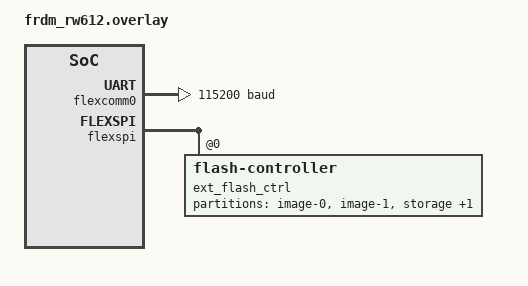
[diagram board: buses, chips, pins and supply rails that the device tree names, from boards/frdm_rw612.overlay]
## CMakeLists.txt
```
# SPDX-License-Identifier: Apache-2.0

cmake_minimum_required(VERSION 3.20.0)

find_package(Zephyr REQUIRED HINTS $ENV{ZEPHYR_BASE})
project(on_off_output_zc)

target_sources(app PRIVATE
	       src/on_off_output_zc.c
	       )
```

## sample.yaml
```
sample:
  name: on_off_output_zc
  description: >
    sample application demonstrating Zigbee functionality for NXP ZBOSS stack
  common:
    min_ram: 32
    min_flash: 256
    tags: zboss
    depends_on: zboss

tests:
  sample.zboss.basic:
    tags: zboss
    harness: console
    harness_config:
      type: one_line
      regex:
        - "Zboss (.*)"
    platform_allow:
      - frdm_mcxw71
      - frdm_mcxw72
      - frdm_rw612
```

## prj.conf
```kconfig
# Zigbee Zboss Application

# OS
CONFIG_EVENTS=y
CONFIG_HEAP_MEM_POOL_SIZE=16384
CONFIG_MAIN_STACK_SIZE=6144
# Must be higher that MAC_INTF_CB_TASK_PRIORITY, refer to:
# modules/hal/nxp/mcux/middleware/mcux-sdk-middleware-ieee_802.15.4/ieee_802_15_4/mac/source/App/mac_intf_rpmsg.c
CONFIG_MAIN_THREAD_PRIORITY=5

# Enable NVMEM subsystem
CONFIG_NVMEM=y
CONFIG_NVMEM_FLASH=y
#CONFIG_LOG=y
#CONFIG_NVMEM_LOG_LEVEL_DBG=y

# Flash
CONFIG_FLASH=y
CONFIG_FLASH_MAP=y
CONFIG_FLASH_PAGE_LAYOUT=y


CONFIG_NVS=y
#CONFIG_LOG=y
#CONFIG_NVS_LOG_LEVEL_DBG=y

CONFIG_TEST_RANDOM_GENERATOR=y

CONFIG_REBOOT=y
CONFIG_ASSERT=y

CONFIG_NXP_RF_IMU=y
CONFIG_NXP_IEEE802154_MAC=y

CONFIG_DEBUG=y

CONFIG_FPU=y
CONFIG_FP_HARDABI=y

CONFIG_ZBOSS_LOGS_ON_UART=n

CONFIG_ZIGBEE_CHANNEL=21

# End of common configs 
CONFIG_MCUX_LPTMR_TIMER=y
```

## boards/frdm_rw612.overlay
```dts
/*
 * Copyright 2026 NXP
 *
 * SPDX-License-Identifier: Apache-2.0
 */

/ {
	aliases {
		log-uart = &flexcomm0;
	};
};

/ {
	chosen {
		zephyr,code-partition = &slot0_partition;
	};
};

&flexcomm0 {
	compatible = "nxp,lpc-usart";
	status = "okay";
	current-speed = <115200>;
	pinctrl-0 = <&pinmux_flexcomm0_usart>;
	pinctrl-names = "default";
};

/* Delete all existing partitions */
/delete-node/ &boot_partition;
/delete-node/ &slot0_partition;
/delete-node/ &slot1_partition;
/delete-node/ &storage_partition;

&flexspi {

	/* Winbond external flash */
	ext_flash_ctrl: flash-controller@0 {

		w25q512jvfiq: flash@0 {

			/delete-node/ partitions;

			partitions {
				compatible = "fixed-partitions";
				#address-cells = <1>;
				#size-cells = <1>;

				slot0_partition: partition@0 {
					label = "image-0";
					reg = <0x00000000 DT_SIZE_M(3)>;
				};

				/*
				* slot1 is a bit larger than slot0 to account
				* for the overhead introduced by SB3.1 format.
				*/
				slot1_partition: partition@300000 {
					label = "image-1";
					reg = <0x00300000 DT_SIZE_K(3200)>;
				};
	
				storage_partition: partition@620000 {
					label = "storage";
					reg = <0x00620000 (DT_SIZE_M(58) - DT_SIZE_K(128) - DT_SIZE_K(32))>;
				};
	
				zb_nvram: partition@3ff8000 {
					label = "zb-nvram";
					reg = <0x03FF8000 DT_SIZE_K(32)>;
				};
			};
		};
	};
};
```

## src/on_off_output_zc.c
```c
/* ZBOSS Zigbee software protocol stack
 *
 * Copyright (c) 2012-2020 DSR Corporation, Denver CO, USA.
 * www.dsr-zboss.com
 * www.dsr-corporation.com
 * All rights reserved.
 *
 * Copyright 2023-2026 NXP
 *
 * This is unpublished proprietary source code of DSR Corporation
 * The copyright notice does not evidence any actual or intended
 * publication of such source code.
 *
 * ZBOSS is a registered trademark of Data Storage Research LLC d/b/a DSR
 * Corporation
 *
 * Commercial Usage
 * Licensees holding valid DSR Commercial licenses may use
 * this file in accordance with the DSR Commercial License
 * Agreement provided with the Software or, alternatively, in accordance
 * with the terms contained in a written agreement between you and
 * DSR.
 */
/* PURPOSE: ZB Simple output device
*/
/* ![mem_config_max] */
#define ZB_TRACE_FILE_ID 40144
#include "zboss_api.h"
#include "zb_led_button.h"
#include "zboss_api_error.h"

/* Insert that include before any code or declaration. */
#ifdef ZB_CONFIGURABLE_MEM
#include ZB_VENDOR_MEM_CONFIG
#endif
/* Next define clusters, attributes etc. */
/* ![mem_config_max] */

/*
#if ! defined ZB_COORDINATOR_ROLE
#error define ZB_COORDINATOR_ROLE to compile zc tests
#endif
*/
#if !defined ZB_ROUTER_ROLE
#error define ZB_ROUTER_ROLE to build led bulb demo
#endif

#define SUBGHZ_PAGE 1
#define SUBGHZ_CHANNEL 25
#define ZCL_ONOFF_ENABLE_OPTIONAL_ATTRIBUTES 1

// default ZIGBEE channel
#ifndef CONFIG_ZIGBEE_CHANNEL
#define CONFIG_ZIGBEE_CHANNEL 21
#endif

/**
 * Global variables definitions
 */
zb_ieee_addr_t g_zc_addr = {0xaa, 0xaa, 0xaa, 0xaa, 0xaa, 0xaa, 0xaa, 0xaa}; /* IEEE address of the
                                                                              * device */
zb_uint16_t g_dst_addr;
zb_uint8_t g_addr_mode;
zb_uint8_t g_endpoint;

/* Uncomment to enable installcode usage */
/* #define TEST_USE_INSTALLCODE */

#ifdef TEST_USE_INSTALLCODE
/* IEEE address of the end device */
zb_ieee_addr_t g_ed_addr = {0x22, 0x22, 0x22, 0x22, 0x22, 0x22, 0x22, 0x22};
char g_installcode[]= "966b9f3ef98ae605 9708";
#endif

#define ZB_REG_TEST_DEFAULT_NWK_KEY {0xab, 0xcd, 0xef, 0x01, 0x23, 0x45, 0x67, 0x89, \
                                     0x00, 0x00, 0x00, 0x00, 0x00, 0x00, 0x00, 0x00}

static zb_uint8_t g_nwk_key[16] = ZB_REG_TEST_DEFAULT_NWK_KEY;


/* Used endpoint */
#define ZB_OUTPUT_ENDPOINT          5
#define ZB_OUTPUT_MAX_CMD_PAYLOAD_SIZE 2

/* Handler for specific ZCL commands */
zb_uint8_t zcl_specific_cluster_cmd_handler(zb_uint8_t param);

void test_device_interface_cb(zb_uint8_t param);
void button_press_handler(zb_uint8_t param);

/**
 * Declaring attributes for each cluster
 */
/* On/Off cluster attributes */
zb_uint8_t g_attr_on_off = ZB_ZCL_ON_OFF_ON_OFF_DEFAULT_VALUE;
#if (ZCL_ONOFF_ENABLE_OPTIONAL_ATTRIBUTES == 1)
/* On/Off cluster attributes additions */
zb_bool_t g_attr_global_scene_ctrl  = ZB_TRUE;
zb_uint16_t g_attr_on_time  = 0;
zb_uint16_t g_attr_off_wait_time  = 0;

ZB_ZCL_DECLARE_ON_OFF_ATTRIB_LIST_EXT(on_off_attr_list, &g_attr_on_off,
    &g_attr_global_scene_ctrl, &g_attr_on_time, &g_attr_off_wait_time);
#else
ZB_ZCL_DECLARE_ON_OFF_ATTRIB_LIST(on_off_attr_list, &g_attr_on_off);
#endif

/* Basic cluster attributes */
zb_uint8_t g_attr_zcl_version  = ZB_ZCL_BASIC_ZCL_VERSION_DEFAULT_VALUE;
zb_uint8_t g_attr_power_source = ZB_ZCL_BASIC_POWER_SOURCE_DEFAULT_VALUE;

ZB_ZCL_DECLARE_BASIC_ATTRIB_LIST(basic_attr_list, &g_attr_zcl_version, &g_attr_power_source);

/* Identify cluster attributes */
zb_uint16_t g_attr_identify_time = ZB_ZCL_IDENTIFY_IDENTIFY_TIME_DEFAULT_VALUE;

ZB_ZCL_DECLARE_IDENTIFY_ATTRIB_LIST(identify_attr_list, &g_attr_identify_time);

/* Groups cluster attributes */
zb_uint8_t g_attr_name_support = 0;

ZB_ZCL_DECLARE_GROUPS_ATTRIB_LIST(groups_attr_list, &g_attr_name_support);

#ifdef ZB_ZCL_SUPPORT_CLUSTER_SCENES
/* Scenes cluster attributes */
zb_uint8_t g_attr_scenes_scene_count = ZB_ZCL_SCENES_SCENE_COUNT_DEFAULT_VALUE;
zb_uint8_t g_attr_scenes_current_scene = ZB_ZCL_SCENES_CURRENT_SCENE_DEFAULT_VALUE;
zb_uint16_t g_attr_scenes_current_group = ZB_ZCL_SCENES_CURRENT_GROUP_DEFAULT_VALUE;
zb_uint8_t g_attr_scenes_scene_valid = ZB_ZCL_SCENES_SCENE_VALID_DEFAULT_VALUE;
zb_uint16_t g_attr_scenes_name_support = ZB_ZCL_SCENES_NAME_SUPPORT_DEFAULT_VALUE;

ZB_ZCL_DECLARE_SCENES_ATTRIB_LIST(scenes_attr_list, &g_attr_scenes_scene_count,
    &g_attr_scenes_current_scene, &g_attr_scenes_current_group,
    &g_attr_scenes_scene_valid, &g_attr_scenes_name_support);
#else
zb_zcl_attr_t scenes_attr_list[] = { ZB_ZCL_NULL_ID, 0, 0, NULL };
#endif

/* Declare cluster list for the device */
ZB_HA_DECLARE_ON_OFF_OUTPUT_CLUSTER_LIST(on_off_output_clusters,
                                         on_off_attr_list,
                                         basic_attr_list,
                                         identify_attr_list,
                                         groups_attr_list,
                                         scenes_attr_list);

/* Declare endpoint */
ZB_HA_DECLARE_ON_OFF_OUTPUT_EP(on_off_output_ep, ZB_OUTPUT_ENDPOINT, on_off_output_clusters);

/* Declare application's device context for single-endpoint device */
ZB_HA_DECLARE_ON_OFF_OUTPUT_CTX(on_off_output_ctx, on_off_output_ep);


static zb_bool_t error_ind_handler(zb_uint8_t severity,
                                   zb_ret_t error_code,
                                   void *additional_info);

#ifdef ZB_MAC_CONFIGURABLE_TX_POWER /* Test API zb_set_tx_power */
static void tx_power_cb(zb_bufid_t param)
{
#ifdef ZB_NXP_WCS_TRACE
  zb_tx_power_params_t *power_params = zb_buf_begin(param);

  WCS_TRACE_INFO("%s_tx_power() response %s: channel %d, page %d, power 0x%02x (%d dBm)",
    (getenv("ZB_TX_POWER"))?("set"):("get"),
    wcs_get_error_str(power_params->status),
    power_params->channel,
    power_params->page,
    power_params->tx_power&0xFF,
    power_params->tx_power);
#endif

zb_buf_free(param);
}

static void request_tx_power(zb_bufid_t param)
{
  zb_tx_power_params_t *power_params;
  char *tmp = getenv("ZB_TX_POWER");

  TRACE_MSG(TRACE_APP1, "param %hd", (FMT__H, param));

  power_params = zb_buf_initial_alloc(param, sizeof(zb_tx_power_params_t));

  power_params->page     = zb_get_current_page();
  power_params->channel  = zb_get_current_channel();
  if(tmp)
    power_params->tx_power = (zb_uint8_t)atoi(tmp);
  power_params->cb = tx_power_cb;

  ZB_SCHEDULE_APP_CALLBACK((tmp)?(zb_set_tx_power_async):(zb_get_tx_power_async), param);
}
#endif

MAIN()
{
  ARGV_UNUSED;

  /* Trace enable */
  ZB_SET_TRACE_ON();
  /* Traffic dump enable*/
  ZB_SET_TRAF_DUMP_ON();

  /* Global ZBOSS initialization */
  ZB_INIT("on_off_output_zc");

  /* Set up defaults for the commissioning */
  zb_set_long_address(g_zc_addr);
#ifndef ZB_APP_ENABLE_SUBGHZ_MODE
  {
    zb_set_network_coordinator_role(1l<<CONFIG_ZIGBEE_CHANNEL);
  }
#else
  {
    zb_channel_list_t channel_list;
    zb_channel_list_init(channel_list);
    zb_channel_page_list_set_mask(channel_list, (ZB_CHANNEL_LIST_PAGE28_IDX), (1l << 24));
    zb_set_network_coordinator_role_ext(channel_list);
  }
#endif
  zb_set_nvram_erase_at_start(ZB_FALSE);
  zb_secur_setup_nwk_key(g_nwk_key, 0);

#ifdef ZB_ENABLE_PTA
  /* switch off by default */
  zb_enable_pta(0);
#endif
  zb_nwk_set_max_ed_capacity(3);

#ifdef ZB_PLATFORM_ZEPHYR
  /* Zigbee 3.0 compliant device */
  zboss_use_r22_behavior();
#endif

/* [af_register_device_context] */
 /* Register device ZCL context */
  ZB_AF_REGISTER_DEVICE_CTX(&on_off_output_ctx);
/* [af_register_device_context] */

  /* Register cluster commands handler for a specific endpoint */
  ZB_AF_SET_ENDPOINT_HANDLER(ZB_OUTPUT_ENDPOINT, zcl_specific_cluster_cmd_handler);

/* [zcl_register_device_cb] */
  /* Set Device user application callback */
  ZB_ZCL_REGISTER_DEVICE_CB(test_device_interface_cb);
/* [zcl_register_device_cb] */

#ifdef ZB_USE_BUTTONS
  zb_button_register_handler(0, 0, button_press_handler);
#endif

  zb_error_register_app_handler(error_ind_handler);

  /* Initiate the stack start without starting the commissioning */
  if (zboss_start_no_autostart() != RET_OK)
  {
    TRACE_MSG(TRACE_ERROR, "zboss_start failed", (FMT__0));
  }
  else
  {
    /* Call the main loop */
    zboss_main_loop();
  }

  /* Deinitialize trace */
  TRACE_DEINIT();

  MAIN_RETURN(0);
}


static zb_bool_t error_ind_handler(zb_uint8_t severity,
                                    zb_ret_t error_code,
                                    void *additional_info)
{
  zb_bool_t ret = ZB_FALSE;
  ZVUNUSED(additional_info);
  /* Unused without trace. */
  ZVUNUSED(severity);

  TRACE_MSG(TRACE_APP1, "error_ind_handler severity %hd error_code %d",
            (FMT__H_D, severity, error_code));

#if 0 // Keep the stack manage the error: this code is an example how the application decide to manager the error
#ifdef ZB_MACSPLIT_HOST
  if (error_code == ERROR_CODE(ERROR_CATEGORY_MACSPLIT, ZB_ERROR_MACSPLIT_RADIO_HANG_NO_ACK) ||
      error_code == ERROR_CODE(ERROR_CATEGORY_MACSPLIT, ZB_ERROR_MACSPLIT_RADIO_REBOOT))
  {
    TRACE_MSG(TRACE_APP1, "MAC-Split error", (FMT__0));
#ifdef ZB_ZBOSS_DEINIT
    {
      zb_bufid_t param = zb_buf_get_out();
      if (param != ZB_BUF_INVALID)
      {
        /* return TRUE to prevent default error handling by the stack */
        ret = ZB_TRUE;
        if (error_code == ERROR_CODE(ERROR_CATEGORY_MACSPLIT, ZB_ERROR_MACSPLIT_RADIO_HANG_NO_ACK))
        {
          TRACE_MSG(TRACE_APP1, "Fatal MAC-Split error", (FMT__0));
          zboss_shut_with_host_reset(param);
        }
        else /* ZB_ERROR_MACSPLIT_RADIO_REBOOT */
        {
          TRACE_MSG(TRACE_APP1, "MAC-Split radio reboot", (FMT__0));
          zboss_start_shut(param);
        }
      }
    }
#endif
    if (!ret)
    {
      ZB_ASSERT(0);
    }
    /* return TRUE to prevent default error handling by the stack */
  }
#endif
#endif
  TRACE_MSG(TRACE_APP1, "error_ind_handler ret %d ", (FMT__D, ret));
  return ret;
}


/* [zcl_register_device_cb_example_cb] */
void test_device_interface_cb(zb_uint8_t param)
{
  zb_zcl_device_callback_param_t *device_cb_param =
    ZB_BUF_GET_PARAM(param, zb_zcl_device_callback_param_t);

  TRACE_MSG(TRACE_APP1, "> test_device_interface_cb param %hd id 0x%hx", (FMT__H_H,
      param, device_cb_param->device_cb_id));

  device_cb_param->status = RET_OK;

  switch (device_cb_param->device_cb_id)
  {
    case ZB_ZCL_SET_ATTR_VALUE_CB_ID:
      if (device_cb_param->cb_param.set_attr_value_param.cluster_id == ZB_ZCL_CLUSTER_ID_ON_OFF &&
          device_cb_param->cb_param.set_attr_value_param.attr_id == ZB_ZCL_ATTR_ON_OFF_ON_OFF_ID)
      {
        if (device_cb_param->cb_param.set_attr_value_param.values.data8)
        {
          WCS_TRACE_DBGREL("set ON");
          TRACE_MSG(TRACE_APP1, "set ON", (FMT__0));
#ifdef ZB_USE_BUTTONS
          zb_osif_led_on(0);
#endif
        }
        else
        {
          WCS_TRACE_DBGREL("set OFF");
          TRACE_MSG(TRACE_APP1, "set OFF", (FMT__0));
#ifdef ZB_USE_BUTTONS
          zb_osif_led_off(0);
#endif
        }
      }
      else if (device_cb_param->cb_param.set_attr_value_param.cluster_id == ZB_ZCL_CLUSTER_ID_IDENTIFY &&
               device_cb_param->cb_param.set_attr_value_param.attr_id == ZB_ZCL_ATTR_IDENTIFY_IDENTIFY_TIME_ID)
      {
        TRACE_MSG(TRACE_APP1, "identify time changed to %d (0x%x)",
                  (FMT__D_D, device_cb_param->cb_param.set_attr_value_param.values.data16, device_cb_param->cb_param.set_attr_value_param.values.data16));
      }
      else
      {
        /* MISRA rule 15.7 requires empty 'else' branch. */
        WCS_TRACE_WARNING("device_callback: SET_ATTR_VALUE of cluster %d attr %d not implemented", device_cb_param->cb_param.set_attr_value_param.cluster_id, device_cb_param->cb_param.set_attr_value_param.attr_id);
      }
      break;

    default:
      WCS_TRACE_WARNING("device_callback: device_cb_id %d not implemented", device_cb_param->device_cb_id);
      device_cb_param->status = RET_NOT_IMPLEMENTED; /* Use not implemented instead of error to have in ZCL Cmd Resp Status unsup. cluster instead of hw failure */
      break;
  }

  TRACE_MSG(TRACE_APP1, "< test_device_interface_cb %hd", (FMT__H, device_cb_param->status));
}
/* [zcl_register_device_cb_example_cb] */

/* [zb_zdo_get_diag_data_async_example] */
static void handle_diag_data_resp(zb_bufid_t buf)
{
  zb_zdo_get_diag_data_resp_params_t *resp_params;

  resp_params = ZB_BUF_GET_PARAM(buf, zb_zdo_get_diag_data_resp_params_t);

  ZVUNUSED(resp_params);

  TRACE_MSG(TRACE_APP1, "handle_diag_data_resp, status: %d, addr: 0x%x, lqi: %d, rssi: %d",
            (FMT__D_D_D_D, resp_params->status, resp_params->short_address,
             resp_params->lqi, resp_params->rssi));

  zb_buf_free(buf);
}

static void send_diag_data_req(zb_uint16_t short_address)
{
  zb_zdo_get_diag_data_req_params_t *req;
  zb_bufid_t buf;

  buf = zb_buf_get_out();
  if (buf != ZB_BUF_INVALID)
  {
    req = ZB_BUF_GET_PARAM(buf, zb_zdo_get_diag_data_req_params_t);
    ZB_BZERO(req, sizeof(*req));

    req->short_address = short_address;
    zb_zdo_get_diag_data_async(buf, handle_diag_data_resp);
  }
  else
  {
    TRACE_MSG(TRACE_ERROR, "Failed to get a buffer", (FMT__0));
  }
}
/* [zb_zdo_get_diag_data_async_example] */

zb_uint8_t zcl_specific_cluster_cmd_handler(zb_uint8_t param)
{
  zb_zcl_parsed_hdr_t cmd_info;

  TRACE_MSG(TRACE_APP1, "> zcl_specific_cluster_cmd_handler", (FMT__0));

  ZB_ZCL_COPY_PARSED_HEADER(param, &cmd_info);

  g_dst_addr = ZB_ZCL_PARSED_HDR_SHORT_DATA(&cmd_info).source.u.short_addr;
  g_endpoint = ZB_ZCL_PARSED_HDR_SHORT_DATA(&cmd_info).src_endpoint;
  g_addr_mode = ZB_APS_ADDR_MODE_16_ENDP_PRESENT;

  ZB_ZCL_DEBUG_DUMP_HEADER(&cmd_info);
  TRACE_MSG(TRACE_APP3, "payload size: %i", (FMT__D, zb_buf_len(param)));

  send_diag_data_req(g_dst_addr);

  if (cmd_info.cmd_direction == ZB_ZCL_FRAME_DIRECTION_TO_CLI)
  {
    TRACE_MSG(
        TRACE_ERROR,
        "Unsupported \"from server\" command direction",
        (FMT__0));
  }

  TRACE_MSG(TRACE_APP1, "< zcl_specific_cluster_cmd_handler", (FMT__0));
  return ZB_FALSE;
}

void button_press_handler(zb_uint8_t param)
{
  ZVUNUSED(param);
  TRACE_MSG(TRACE_APP1, "button is pressed, do nothing", (FMT__0));
}

static void on_device_started(void)
{
  /* [zb_get_device_type_example] */
  zb_nwk_device_type_t device_type = ZB_NWK_DEVICE_TYPE_NONE;
  device_type = zb_get_device_type();
  ZVUNUSED(device_type);
  TRACE_MSG(TRACE_APP1, "Device (%d) STARTED OK", (FMT__D, device_type));
  /* [zb_get_device_type_example] */
}

/* Callback to handle the stack events */
void zboss_signal_handler(zb_uint8_t param)
{
  zb_zdo_app_signal_hdr_t *sg_p = NULL;
  zb_zdo_app_signal_type_t sig = zb_get_app_signal(param, &sg_p);

  if (ZB_GET_APP_SIGNAL_STATUS(param) == 0)
  {
    switch(sig)
    {
#ifdef DEBUG
      case ZB_DEBUG_SIGNAL_TCLK_READY:
      {
        zb_debug_signal_tclk_ready_params_t *params = ZB_ZDO_SIGNAL_GET_PARAMS(sg_p, zb_debug_signal_tclk_ready_params_t);
        zb_debug_broadcast_aps_key(params->long_addr);
      }
      break;
#endif
      case ZB_ZDO_SIGNAL_SKIP_STARTUP:
#ifdef TEST_USE_INSTALLCODE
        zb_secur_ic_str_add(g_ed_addr, g_installcode, NULL);
#endif
        zboss_start_continue();
        break;

#ifdef ZB_MACSPLIT_HOST
      case ZB_MACSPLIT_DEVICE_BOOT:
        {
          zb_zdo_signal_macsplit_dev_boot_params_t *boot_params = ZB_ZDO_SIGNAL_GET_PARAMS(sg_p, zb_zdo_signal_macsplit_dev_boot_params_t);
          TRACE_MSG(TRACE_APP1, "ZB_MACSPLIT_DEVICE_BOOT dev version %d", (FMT__D, boot_params->dev_version));
        }
        break;
#endif /* ZB_MACSPLIT_HOST */

      case ZB_BDB_SIGNAL_DEVICE_FIRST_START:
        on_device_started();

#ifdef ZB_MAC_CONFIGURABLE_TX_POWER
        request_tx_power(param);
        param = 0;
#endif
        bdb_start_top_level_commissioning(ZB_BDB_NETWORK_STEERING);
        break;

      case ZB_BDB_SIGNAL_DEVICE_REBOOT:
        on_device_started();
        break;

/* [zb_bdb_finding_binding_target_usage] */
      case ZB_BDB_SIGNAL_STEERING:
        TRACE_MSG(TRACE_APP1, "Successful steering, start f&b target", (FMT__0));
        zb_bdb_finding_binding_target(ZB_OUTPUT_ENDPOINT);
        break;
/* [zb_bdb_finding_binding_target_usage] */

#ifdef ZB_ZBOSS_DEINIT
      case ZB_SIGNAL_READY_TO_SHUT:
        TRACE_MSG(TRACE_APP1, "Got ZB_SIGNAL_READY_TO_SHUT", (FMT__0));
        zboss_complete_shut();
        break;
#endif

      default:
        TRACE_MSG(TRACE_APP1, "Unknown signal %d", (FMT__D, (zb_uint16_t)sig));
    }
  }
  else if (sig == ZB_ZDO_SIGNAL_PRODUCTION_CONFIG_READY)
  {
    TRACE_MSG(TRACE_APP1, "Production config is not present or invalid", (FMT__0));
  }
  else
  {
    TRACE_MSG(TRACE_ERROR, "Device started FAILED status %d sig %d", (FMT__D_D, ZB_GET_APP_SIGNAL_STATUS(param), sig));
  }

  /* Free the buffer if it is not used */
  if (param)
  {
    zb_buf_free(param);
  }
}
```
